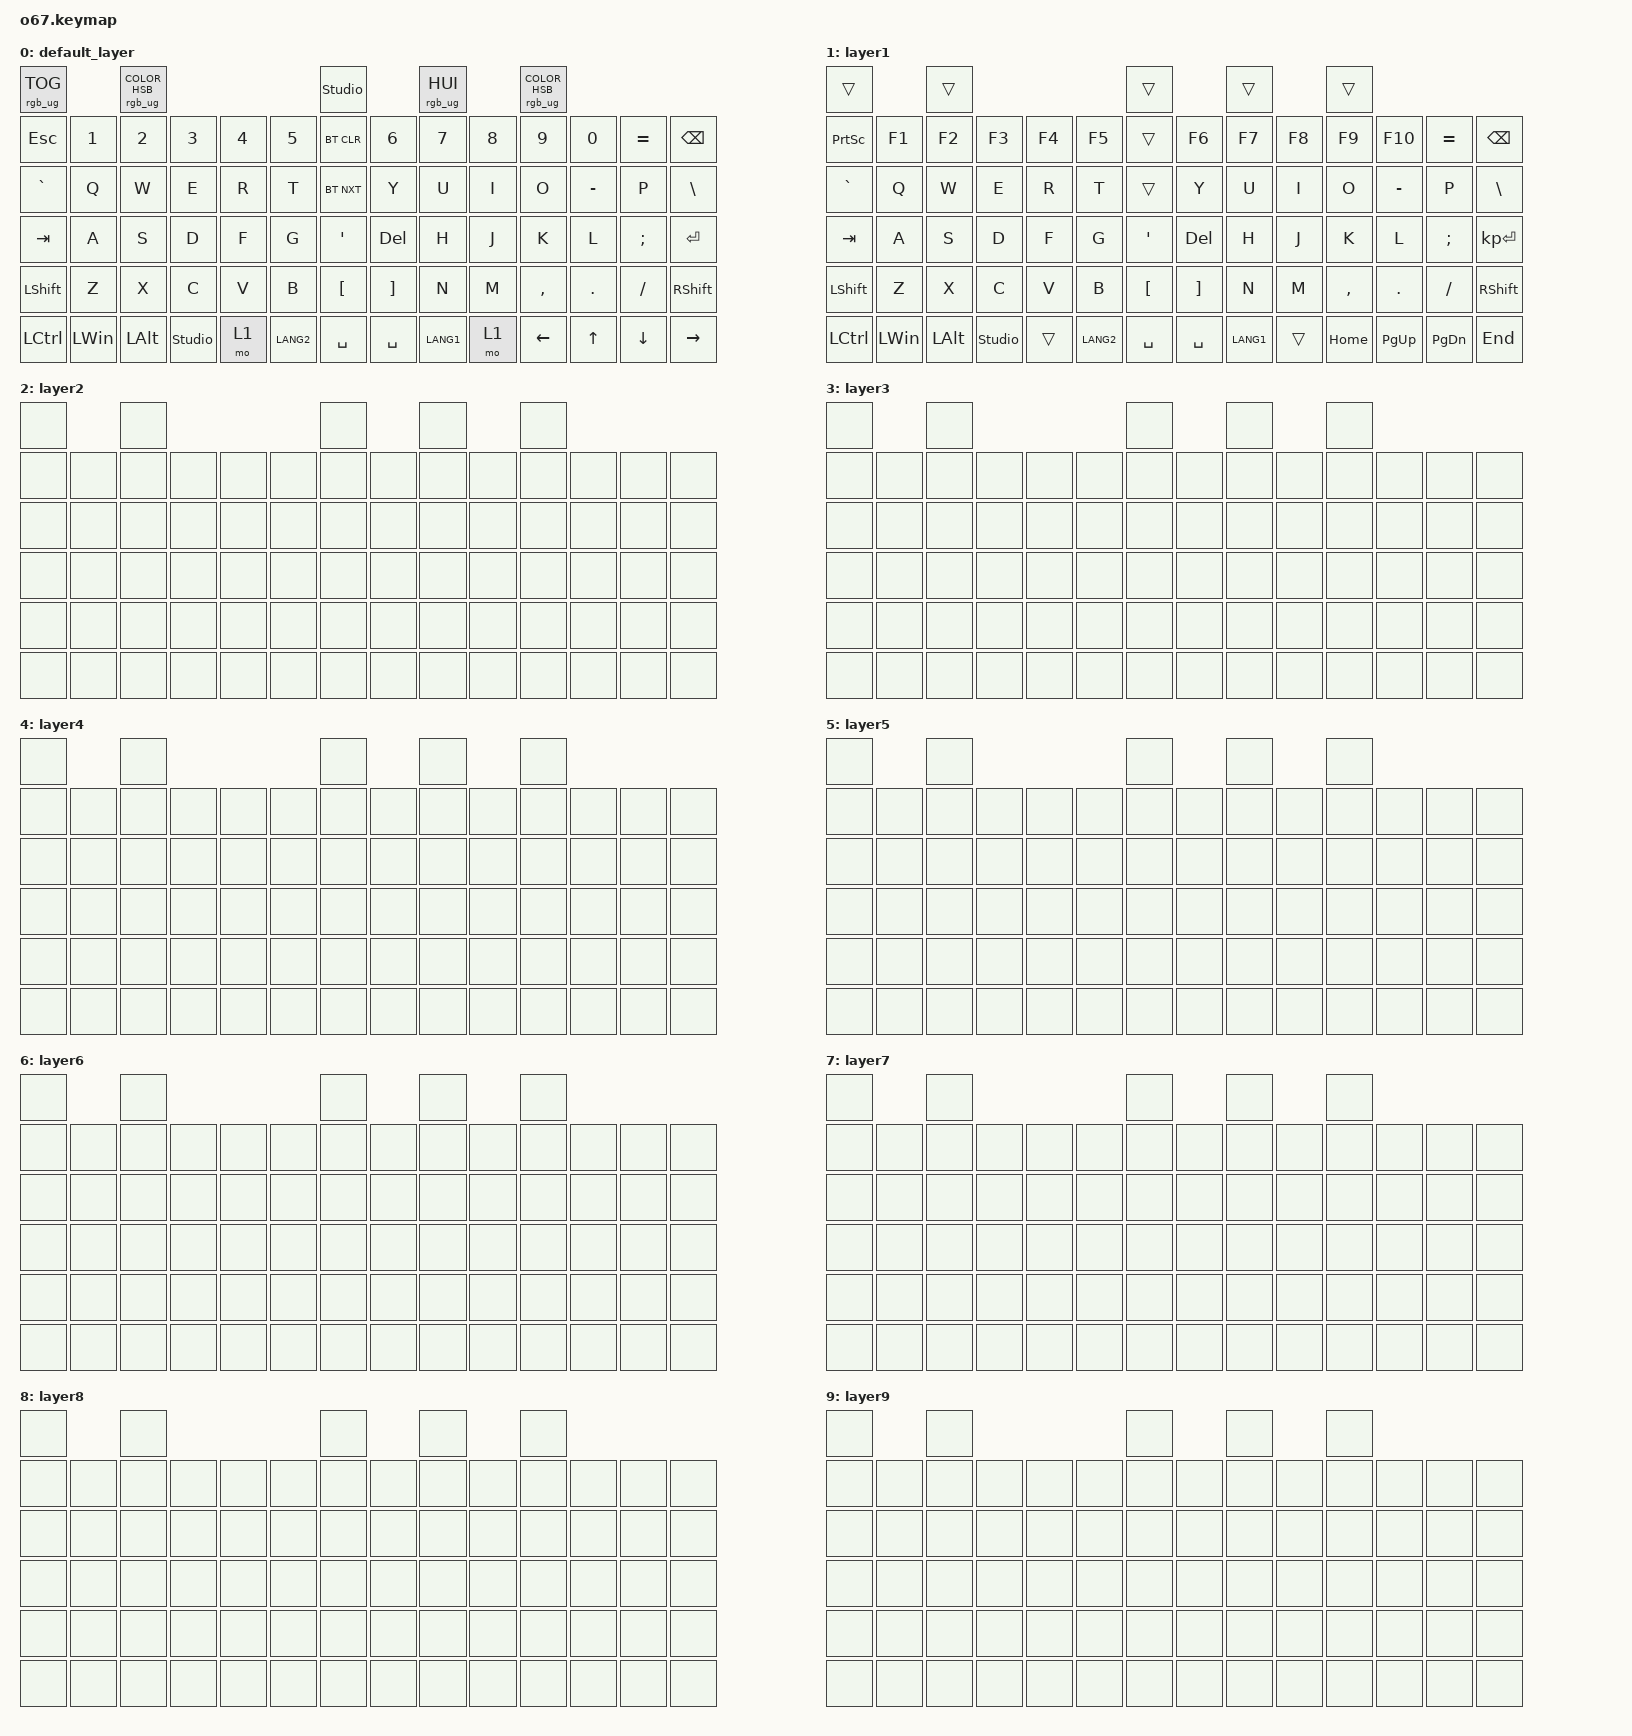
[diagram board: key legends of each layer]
// This file was generated from a template. Edit it to match your keyboard.
// See https://zmk.dev/docs/development/hardware-integration/new-shield for more instructions.

#include <behaviors.dtsi>
#include <dt-bindings/zmk/keys.h>
#include <dt-bindings/zmk/rgb.h>
#include <dt-bindings/zmk/bt.h>

//#include <dt-bindings/zmk/studio.h>
//&studio_unlockに昔は必要だった？

/ {
    // Define a default keymap here.
    // See https://zmk.dev/docs/development/hardware-integration/new-shield#default-keymap.
    keymap {
        compatible = "zmk,keymap";

        default_layer {
            bindings = <
                &rgb_ug RGB_TOG      &rgb_ug RGB_COLOR_HSB(0, 0, 5)      &studio_unlock        &rgb_ug RGB_HUI     &rgb_ug RGB_COLOR_HSB(180, 100, 5)
                &kp ESC    &kp N1    &kp N2    &kp N3  &kp N4  &kp N5  &bt BT_CLR    &kp N6     &kp N7     &kp N8   &kp N9     &kp N0     &kp EQUAL  &kp BSPC
                &kp GRAVE  &kp Q     &kp W     &kp E   &kp R   &kp T   &bt BT_NXT    &kp Y      &kp U      &kp I    &kp O      &kp MINUS  &kp P      &kp BSLH
                &kp TAB    &kp A     &kp S     &kp D   &kp F   &kp G   &kp SQT       &kp DEL    &kp H      &kp J    &kp K      &kp L      &kp SEMI   &kp ENTER
                &kp LSHFT  &kp Z     &kp X     &kp C   &kp V   &kp B   &kp LBKT      &kp RBKT   &kp N      &kp M    &kp COMMA  &kp DOT    &kp SLASH  &kp RSHFT
                &kp LCTRL  &kp LWIN  &kp LALT  &studio_unlock  &mo 1   &kp LANG2     &kp SPACE  &kp SPACE  &kp LANG1  &mo 1    &kp LEFT   &kp UP     &kp DOWN   &kp RIGHT
            >;
        };

        layer1 {
            bindings = <
                &trans &trans &trans &trans &trans
                &kp PSCRN  &kp F1    &kp F2    &kp F3  &kp F4  &kp F5  &trans     &kp F6     &kp F7     &kp F8   &kp F9     &kp F10    &kp EQUAL  &kp BSPC
                &kp GRAVE  &kp Q     &kp W     &kp E   &kp R   &kp T   &trans     &kp Y      &kp U      &kp I    &kp O      &kp MINUS  &kp P      &kp BSLH
                &kp TAB    &kp A     &kp S     &kp D   &kp F   &kp G   &kp SQT    &kp DEL    &kp H      &kp J    &kp K      &kp L      &kp SEMI   &kp KP_ENTER
                &kp LSHFT  &kp Z     &kp X     &kp C   &kp V   &kp B   &kp LBKT   &kp RBKT   &kp N      &kp M    &kp COMMA  &kp DOT    &kp SLASH  &kp RSHFT
                &kp LCTRL  &kp LWIN  &kp LALT  &studio_unlock  &trans  &kp LANG2  &kp SPACE  &kp SPACE  &kp LANG1  &trans   &kp HOME   &kp PG_UP  &kp PG_DN  &kp END
            >;
        };

        layer2 {
            bindings = <
                &none &none &none &none &none
                &none &none &none &none &none &none &none &none &none &none &none &none &none &none
                &none &none &none &none &none &none &none &none &none &none &none &none &none &none
                &none &none &none &none &none &none &none &none &none &none &none &none &none &none
                &none &none &none &none &none &none &none &none &none &none &none &none &none &none
                &none &none &none &none &none &none &none &none &none &none &none &none &none &none
            >;
        };

        layer3 {
            bindings = <
                &none &none &none &none &none
                &none &none &none &none &none &none &none &none &none &none &none &none &none &none
                &none &none &none &none &none &none &none &none &none &none &none &none &none &none
                &none &none &none &none &none &none &none &none &none &none &none &none &none &none
                &none &none &none &none &none &none &none &none &none &none &none &none &none &none
                &none &none &none &none &none &none &none &none &none &none &none &none &none &none
            >;
        };

        layer4 {
            bindings = <
                &none &none &none &none &none
                &none &none &none &none &none &none &none &none &none &none &none &none &none &none
                &none &none &none &none &none &none &none &none &none &none &none &none &none &none
                &none &none &none &none &none &none &none &none &none &none &none &none &none &none
                &none &none &none &none &none &none &none &none &none &none &none &none &none &none
                &none &none &none &none &none &none &none &none &none &none &none &none &none &none
            >;
        };

        layer5 {
            bindings = <
                &none &none &none &none &none
                &none &none &none &none &none &none &none &none &none &none &none &none &none &none
                &none &none &none &none &none &none &none &none &none &none &none &none &none &none
                &none &none &none &none &none &none &none &none &none &none &none &none &none &none
                &none &none &none &none &none &none &none &none &none &none &none &none &none &none
                &none &none &none &none &none &none &none &none &none &none &none &none &none &none
            >;
        };

        layer6 {
            bindings = <
                &none &none &none &none &none
                &none &none &none &none &none &none &none &none &none &none &none &none &none &none
                &none &none &none &none &none &none &none &none &none &none &none &none &none &none
                &none &none &none &none &none &none &none &none &none &none &none &none &none &none
                &none &none &none &none &none &none &none &none &none &none &none &none &none &none
                &none &none &none &none &none &none &none &none &none &none &none &none &none &none
            >;
        };

        layer7 {
            bindings = <
                &none &none &none &none &none
                &none &none &none &none &none &none &none &none &none &none &none &none &none &none
                &none &none &none &none &none &none &none &none &none &none &none &none &none &none
                &none &none &none &none &none &none &none &none &none &none &none &none &none &none
                &none &none &none &none &none &none &none &none &none &none &none &none &none &none
                &none &none &none &none &none &none &none &none &none &none &none &none &none &none
            >;
        };

        layer8 {
            bindings = <
                &none &none &none &none &none
                &none &none &none &none &none &none &none &none &none &none &none &none &none &none
                &none &none &none &none &none &none &none &none &none &none &none &none &none &none
                &none &none &none &none &none &none &none &none &none &none &none &none &none &none
                &none &none &none &none &none &none &none &none &none &none &none &none &none &none
                &none &none &none &none &none &none &none &none &none &none &none &none &none &none
            >;
        };

        layer9 {
            bindings = <
                &none &none &none &none &none
                &none &none &none &none &none &none &none &none &none &none &none &none &none &none
                &none &none &none &none &none &none &none &none &none &none &none &none &none &none
                &none &none &none &none &none &none &none &none &none &none &none &none &none &none
                &none &none &none &none &none &none &none &none &none &none &none &none &none &none
                &none &none &none &none &none &none &none &none &none &none &none &none &none &none
            >;
        };
    };
};
